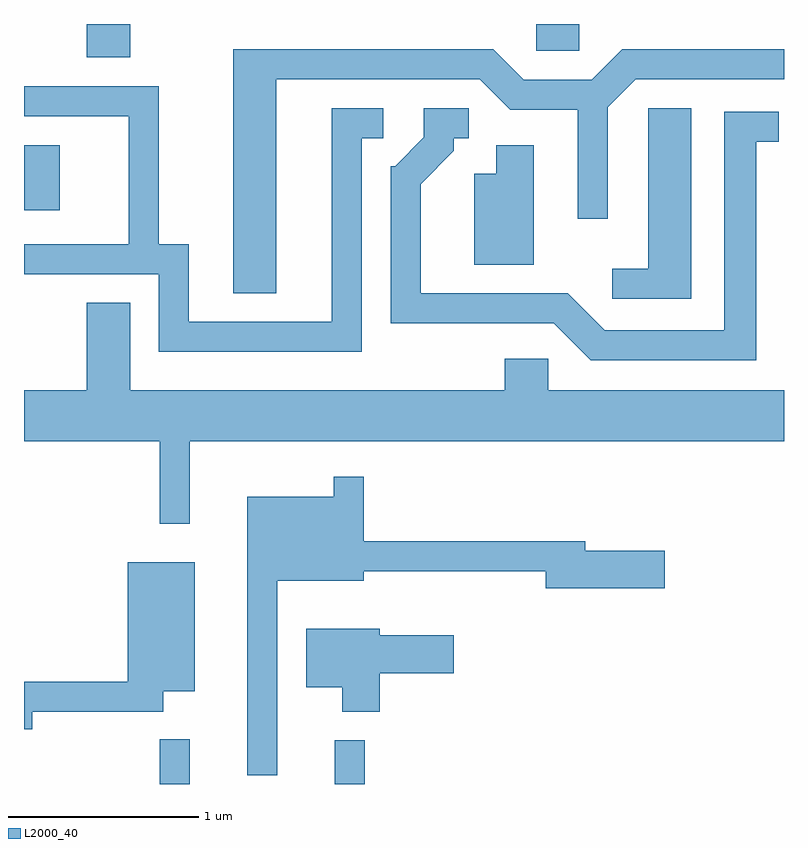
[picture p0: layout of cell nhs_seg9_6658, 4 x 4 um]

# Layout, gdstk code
import gdstk
lib = gdstk.Library(unit=1e-6, precision=1e-09)
def R(c, l, rs):  # rectangles x0, y0, x1, y1
    for r in rs: c.add(gdstk.rectangle(r[:2], r[2:], *l))
def P(c, l, *ps):  # polygons
    for p in ps: c.add(gdstk.Polygon(p, *l))
L2000_40 = (2000, 40)

nhs_seg9_6658 = lib.new_cell('nhs_seg9_6658')
R(nhs_seg9_6658, L2000_40, [(382.326,2014.432,382.484,2014.668), (383.246,2014.432,383.404,2014.663), (381.611,2017.451,381.799,2017.794), (381.941,2018.256,382.169,2018.432), (384.306,2018.291,384.534,2018.432)])
P(nhs_seg9_6658, L2000_40, [(382.939,2018.141),(384.009,2018.141),(384.169,2017.981),(384.526,2017.981),(384.526,2017.408),(384.684,2017.408),(384.684,2017.994),(384.832,2018.141),(385.611,2018.141),(385.611,2018.299),(384.759,2018.299),(384.599,2018.139),(384.242,2018.139),(384.082,2018.299),(382.711,2018.299),(382.711,2017.016),(382.939,2017.016)],
  [(383.389,2017.831),(383.503,2017.831),(383.503,2017.989),(383.231,2017.989),(383.231,2016.864),(382.479,2016.864),(382.479,2017.274),(382.319,2017.274),(382.319,2018.104),(381.611,2018.104),(381.611,2017.946),(382.161,2017.946),(382.161,2017.274),(381.611,2017.274),(381.611,2017.116),(382.321,2017.116),(382.321,2016.706),(383.389,2016.706)],
  [(385.124,2017.989),(384.896,2017.989),(384.896,2017.144),(384.708,2017.144),(384.708,2016.986),(385.124,2016.986)],
  [(385.464,2017.811),(385.583,2017.811),(385.583,2017.969),(385.296,2017.969),(385.296,2016.819),(384.667,2016.819),(384.472,2017.014),(383.699,2017.014),(383.699,2017.589),(383.874,2017.764),(383.874,2017.831),(383.953,2017.831),(383.953,2017.989),(383.716,2017.989),(383.716,2017.837),(383.564,2017.684),(383.541,2017.684),(383.541,2016.856),(384.399,2016.856),(384.594,2016.661),(385.464,2016.661)],
  [(384.294,2017.794),(384.096,2017.794),(384.096,2017.644),(383.981,2017.644),(383.981,2017.166),(384.294,2017.166)],
  [(382.484,2016.236),(385.611,2016.236),(385.611,2016.504),(384.369,2016.504),(384.369,2016.669),(384.141,2016.669),(384.141,2016.504),(382.169,2016.504),(382.169,2016.964),(381.941,2016.964),(381.941,2016.504),(381.611,2016.504),(381.611,2016.236),(382.326,2016.236),(382.326,2015.803),(382.484,2015.803)],
  [(382.944,2015.501),(383.399,2015.501),(383.399,2015.551),(384.356,2015.551),(384.356,2015.461),(384.984,2015.461),(384.984,2015.659),(384.564,2015.659),(384.564,2015.709),(383.399,2015.709),(383.399,2016.048),(383.241,2016.048),(383.241,2015.944),(382.786,2015.944),(382.786,2014.478),(382.944,2014.478)],
  [(381.654,2014.811),(382.344,2014.811),(382.344,2014.921),(382.509,2014.921),(382.509,2015.599),(382.156,2015.599),(382.156,2014.969),(381.611,2014.969),(381.611,2014.721),(381.654,2014.721)],
  [(383.484,2015.016),(383.874,2015.016),(383.874,2015.214),(383.484,2015.214),(383.484,2015.249),(383.096,2015.249),(383.096,2014.941),(383.286,2014.941),(383.286,2014.811),(383.484,2014.811)])

lib.write_gds('nhs_seg9_6658.gds')
